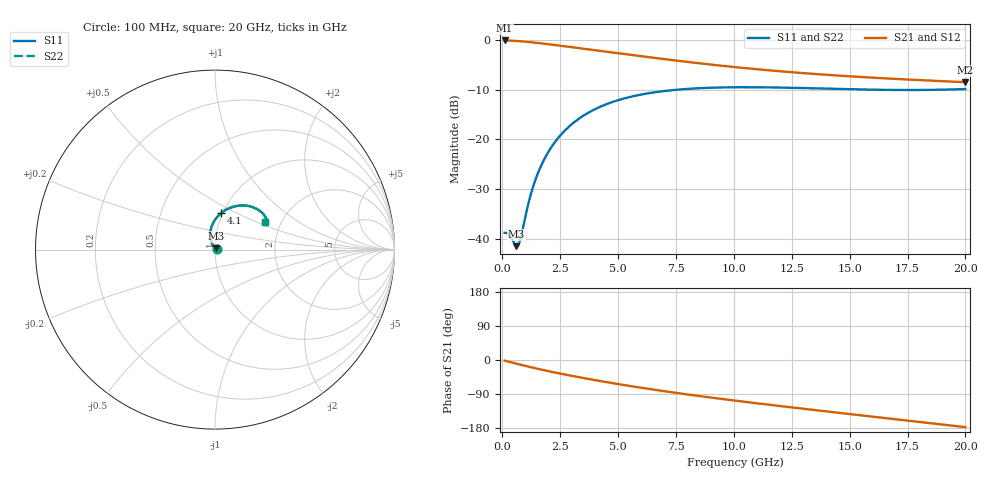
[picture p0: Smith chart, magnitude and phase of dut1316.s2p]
! Touchstone file exported from HFSS 2024.1.0
!  File:  C:/UserFiles/LocalFiles/RDL_TSV_Batchsim/temp_RDL_TSV_1316_1780385956.aedt
!  Generated:  03:55:15 PM Jun  2, 2026
!  Design:  RDL_TSV
!  Project:  temp_RDL_TSV_1316_1780385956
!  Setup:  Setup1
!  Solution:  Sweep
! Variables:
!  dtsv = 9.48um
!  hbump = 3um
!  htsv = 73.42um
!  ldown = 105.11um
!  lrdl = 541.7um
!  p = 40
!  p1 = 56.43um
!  rhole = 10um
!  subl = 2482.13um
!  t = 450um
!  tdown = 4.24um
!  trdl = 3.54um
!  viad = 10um
!  wdown = 23.73um
!  wrdl = 22.86um
!  xbump = 18um
# GHz S MA R 50.000000
! Terminal data exported
! Port[1] = TM1_1_T1
! Port[2] = TM1_4_T1
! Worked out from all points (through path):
!   200 points, 100 MHz to 20 GHz, reference 50 ohm
!   highest |S21| = -0.10 dB at 100 MHz (marker M1); lowest = -8.5 dB at 20 GHz (marker M2)
!   group delay of S21, straight-line fit = 23.1 ps
!   lowest |S11| = -41.4 dB at 600 MHz (marker M3), VSWR 1.02, Z = 50.6 + j0.633 ohm
!   |S11| at or under -10 dB: start of sweep to 7.56 GHz; 16.01 GHz to 18.96 GHz (2.955 GHz wide, 16.9 % of centre)
!   |S22| runs from -41.4 to -9.5 dB; largest |S21 - S12| = 2.1e-14
!   S11 on the Smith chart (normalised r, x): 100 MHz: 1.02, +0.00; 4.1 GHz: 0.98, +0.42; 20 GHz: 1.66, +0.57
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0.1  0.01152 6.0  0.988 -1.6  0.988 -1.6  0.01152 6.0
! Gamma 0 0 0 0
! Port Impedance 50 0 50 0
0.3  0.01106 15.7  0.9847 -4.9  0.9847 -4.9  0.01107 15.7
0.6  0.008464 47.7  0.9765 -9.6  0.9765 -9.6  0.008466 47.7
0.7  0.008672 68.0  0.973 -11.1  0.973 -11.1  0.008671 67.9
0.8  0.01028 87.0  0.9691 -12.7  0.9691 -12.7  0.01027 86.9
1.1  0.02147 112.7  0.9556 -17.1  0.9556 -17.1  0.02145 112.6
1.3  0.03181 116.2  0.9453 -20.0  0.9453 -20.0  0.03177 116.1
1.5  0.04343 116.1  0.9344 -22.8  0.9344 -22.8  0.04338 116.1
1.8  0.06238 113.3  0.9171 -26.9  0.9171 -26.9  0.06231 113.2
2.1  0.08233 109.1  0.8993 -30.8  0.8993 -30.8  0.08225 109.1
2.5  0.1094 103.1  0.8753 -35.8  0.8753 -35.8  0.1093 103.0
3  0.1423 95.5  0.8458 -41.8  0.8458 -41.8  0.1422 95.4
3.5  0.1732 88.3  0.817 -47.5  0.817 -47.5  0.173 88.3
4.1  0.2065 80.4  0.7835 -54.1  0.7835 -54.1  0.2063 80.4
5.3  0.2597 67.0  0.7204 -66.5  0.7204 -66.5  0.2594 66.9
6.8  0.3026 53.8  0.6499 -80.6  0.6499 -80.6  0.3023 53.8
8.4  0.3263 43.4  0.5863 -94.2  0.5863 -94.2  0.3258 43.4
10.1  0.3346 35.4  0.5317 -107.6  0.5317 -107.6  0.3342 35.4
11.7  0.3331 30.4  0.4908 -119.4  0.4908 -119.4  0.3326 30.4
13.4  0.3266 27.1  0.4566 -131.5  0.4566 -131.5  0.3261 27.2
16.7  0.3147 26.0  0.4089 -154.4  0.4089 -154.4  0.3142 26.1
20  0.3208 28.8  0.3761 -177.2  0.3761 -177.2  0.3204 28.8
